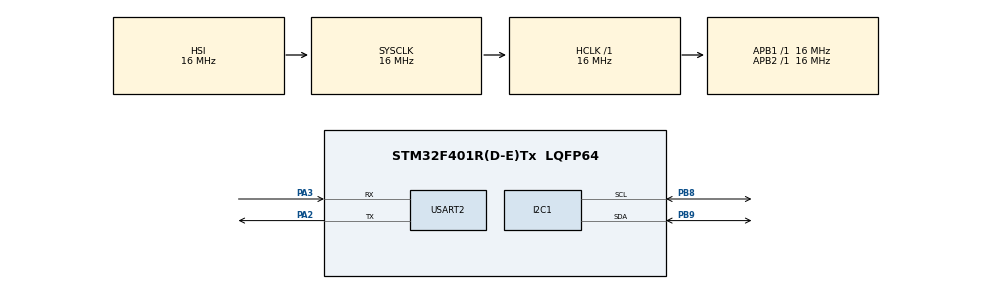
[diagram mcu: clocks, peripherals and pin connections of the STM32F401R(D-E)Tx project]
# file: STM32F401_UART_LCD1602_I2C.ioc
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Mcu.Family=STM32F4
Mcu.Name=STM32F401R(D-E)Tx
Mcu.Package=LQFP64
NVIC.PriorityGroup=NVIC_PRIORITYGROUP_4
PA2.Mode=Asynchronous
PA2.Signal=USART2_TX
PA3.Mode=Asynchronous
PA3.Signal=USART2_RX
PB8.Mode=I2C
PB8.Signal=I2C1_SCL
PB9.Mode=I2C
PB9.Signal=I2C1_SDA
ProjectManager.HeapSize=0x200
ProjectManager.StackSize=0x400
ProjectManager.TargetToolchain=STM32CubeIDE
RCC.AHBFreq_Value=16000000
RCC.APB1Freq_Value=16000000
RCC.APB2Freq_Value=16000000
RCC.CortexFreq_Value=16000000
RCC.HSE_VALUE=25000000
RCC.HSI_VALUE=16000000
RCC.LSE_VALUE=32768
RCC.SYSCLKFreq_VALUE=16000000
RCC.VCOOutputFreq_Value=192000000
TIM2.Period=65535
TIM2.Prescaler=15
USART2.VirtualMode=VM_ASYNC
VP_TIM2_VS_ClockSourceINT.Mode=Internal
board=custom

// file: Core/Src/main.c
/* USER CODE BEGIN Header */
/**
  ******************************************************************************
  * @file           : main.c
  * @brief          : Main program body
  ******************************************************************************
  * @attention
  *
  * Copyright (c) 2025 STMicroelectronics.
  * All rights reserved.
  *
  * This software is licensed under terms that can be found in the LICENSE file
  * in the root directory of this software component.
  * If no LICENSE file comes with this software, it is provided AS-IS.
  *
  ******************************************************************************
  */
/* USER CODE END Header */
#include "main.h"

/* USER CODE BEGIN Includes */
#include <stdio.h>
#include <string.h>

#include "../../Commander/Inc/commander.h"
#include "../../DelayMicro/Inc/delay_micro.h"

/* USER CODE END Includes */

I2C_HandleTypeDef hi2c1;

TIM_HandleTypeDef htim2;

UART_HandleTypeDef huart2;

void SystemClock_Config(void);
static void MX_GPIO_Init(void);
static void MX_I2C1_Init(void);
static void MX_TIM2_Init(void);
static void MX_USART2_UART_Init(void);

int main(void)
{

  /* USER CODE BEGIN 1 */
	HAL_StatusTypeDef status;
	uint8_t command[MAX_COMMAND_LENGTH];

  /* USER CODE END 1 */

  /* MCU Configuration--------------------------------------------------------*/

  /* Reset of all peripherals, Initializes the Flash interface and the Systick. */
  HAL_Init();

  /* Configure the system clock */
  SystemClock_Config();

  /* Initialize all configured peripherals */
  MX_GPIO_Init();
  MX_I2C1_Init();
  MX_TIM2_Init();
  MX_USART2_UART_Init();

  /* Infinite loop */
  /* USER CODE BEGIN WHILE */
    TIM2MicrosecondsDelayInit();

    // Try to prepare LCD1602 interface
    if (!PrepareLCD1602Interface())
    {
        // Can not configure LCD1602 with I2C interface
    	return 0;
    }

    // Try to prepare the UART channel
    while (PrepareUartChannel(&huart2) != HAL_OK)
    {
        HAL_Delay(1000);
    }

    while (1)
    {
        status = HAL_ERROR;
        memset(command, 0, MAX_COMMAND_LENGTH);

        if ((status = ReadCommand(command)) == HAL_OK)
        {
            status = ProcessCommand((char *)command);
        }

        if (status != HAL_OK)
        {
        	HAL_Delay(1000);
        	// Try to repair the UART channel continuously
        	RepairUartChannel(&huart2);
        }

    /* USER CODE END WHILE */

      }
}

void SystemClock_Config(void)
{
  RCC_OscInitTypeDef RCC_OscInitStruct = {0};
  RCC_ClkInitTypeDef RCC_ClkInitStruct = {0};

  /** Configure the main internal regulator output voltage
  */
  __HAL_RCC_PWR_CLK_ENABLE();
  __HAL_PWR_VOLTAGESCALING_CONFIG(PWR_REGULATOR_VOLTAGE_SCALE2);

  /** Initializes the RCC Oscillators according to the specified parameters
  * in the RCC_OscInitTypeDef structure.
  */
  RCC_OscInitStruct.OscillatorType = RCC_OSCILLATORTYPE_HSI;
  RCC_OscInitStruct.HSIState = RCC_HSI_ON;
  RCC_OscInitStruct.HSICalibrationValue = RCC_HSICALIBRATION_DEFAULT;
  RCC_OscInitStruct.PLL.PLLState = RCC_PLL_NONE;
  if (HAL_RCC_OscConfig(&RCC_OscInitStruct) != HAL_OK)
  {
    Error_Handler();
  }

  /** Initializes the CPU, AHB and APB buses clocks
  */
  RCC_ClkInitStruct.ClockType = RCC_CLOCKTYPE_HCLK|RCC_CLOCKTYPE_SYSCLK
                              |RCC_CLOCKTYPE_PCLK1|RCC_CLOCKTYPE_PCLK2;
  RCC_ClkInitStruct.SYSCLKSource = RCC_SYSCLKSOURCE_HSI;
  RCC_ClkInitStruct.AHBCLKDivider = RCC_SYSCLK_DIV1;
  RCC_ClkInitStruct.APB1CLKDivider = RCC_HCLK_DIV1;
  RCC_ClkInitStruct.APB2CLKDivider = RCC_HCLK_DIV1;

  if (HAL_RCC_ClockConfig(&RCC_ClkInitStruct, FLASH_LATENCY_0) != HAL_OK)
  {
    Error_Handler();
  }
}

static void MX_I2C1_Init(void)
{

  hi2c1.Instance = I2C1;
  hi2c1.Init.ClockSpeed = 100000;
  hi2c1.Init.DutyCycle = I2C_DUTYCYCLE_2;
  hi2c1.Init.OwnAddress1 = 0;
  hi2c1.Init.AddressingMode = I2C_ADDRESSINGMODE_7BIT;
  hi2c1.Init.DualAddressMode = I2C_DUALADDRESS_DISABLE;
  hi2c1.Init.OwnAddress2 = 0;
  hi2c1.Init.GeneralCallMode = I2C_GENERALCALL_DISABLE;
  hi2c1.Init.NoStretchMode = I2C_NOSTRETCH_DISABLE;
  if (HAL_I2C_Init(&hi2c1) != HAL_OK)
  {
    Error_Handler();
  }

}

static void MX_TIM2_Init(void)
{

  TIM_ClockConfigTypeDef sClockSourceConfig = {0};
  TIM_MasterConfigTypeDef sMasterConfig = {0};

  htim2.Instance = TIM2;
  htim2.Init.Prescaler = 15;
  htim2.Init.CounterMode = TIM_COUNTERMODE_UP;
  htim2.Init.Period = 65535;
  htim2.Init.ClockDivision = TIM_CLOCKDIVISION_DIV1;
  htim2.Init.AutoReloadPreload = TIM_AUTORELOAD_PRELOAD_DISABLE;
  if (HAL_TIM_Base_Init(&htim2) != HAL_OK)
  {
    Error_Handler();
  }
  sClockSourceConfig.ClockSource = TIM_CLOCKSOURCE_INTERNAL;
  if (HAL_TIM_ConfigClockSource(&htim2, &sClockSourceConfig) != HAL_OK)
  {
    Error_Handler();
  }
  sMasterConfig.MasterOutputTrigger = TIM_TRGO_RESET;
  sMasterConfig.MasterSlaveMode = TIM_MASTERSLAVEMODE_DISABLE;
  if (HAL_TIMEx_MasterConfigSynchronization(&htim2, &sMasterConfig) != HAL_OK)
  {
    Error_Handler();
  }

}

static void MX_USART2_UART_Init(void)
{

  huart2.Instance = USART2;
  huart2.Init.BaudRate = 115200;
  huart2.Init.WordLength = UART_WORDLENGTH_8B;
  huart2.Init.StopBits = UART_STOPBITS_1;
  huart2.Init.Parity = UART_PARITY_NONE;
  huart2.Init.Mode = UART_MODE_TX_RX;
  huart2.Init.HwFlowCtl = UART_HWCONTROL_NONE;
  huart2.Init.OverSampling = UART_OVERSAMPLING_16;
  if (HAL_UART_Init(&huart2) != HAL_OK)
  {
    Error_Handler();
  }

}

static void MX_GPIO_Init(void)
{

  /* GPIO Ports Clock Enable */
  __HAL_RCC_GPIOA_CLK_ENABLE();
  __HAL_RCC_GPIOB_CLK_ENABLE();

}

void Error_Handler(void)
{
  __disable_irq();
  while (1)
  {
  }
}
